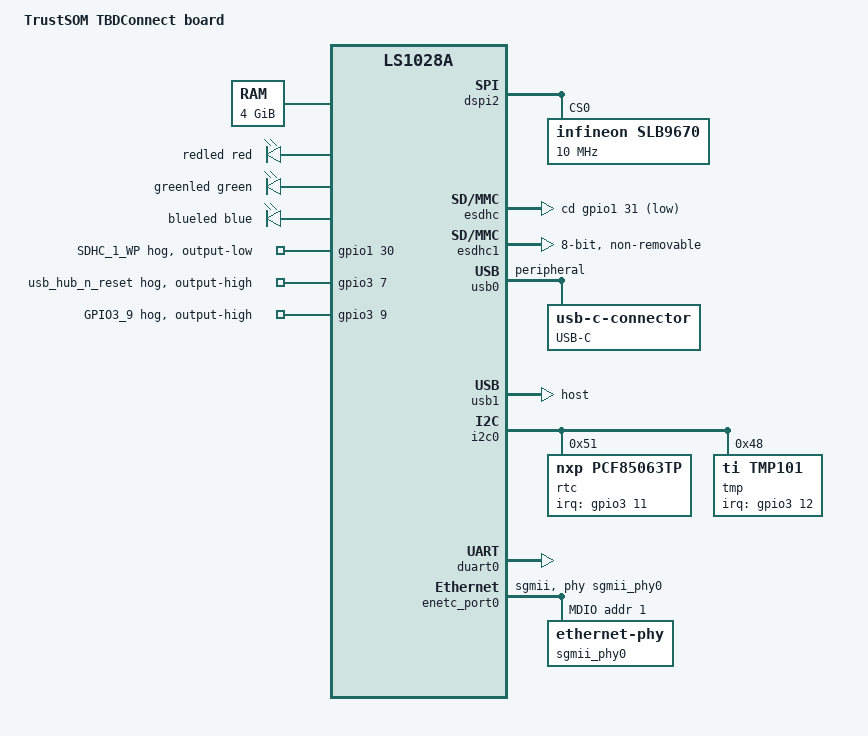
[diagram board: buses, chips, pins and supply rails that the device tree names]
// SPDX-License-Identifier: (GPL-2.0+ OR MIT)
/*
 * Device Tree file for Scalys TrustSOM TBDConnect Board.
 *
 * Copyright 2018-2019 NXP
 * Copyright 2021 Scalys
 *
 * opensource@scalys.com
 *
 */

/dts-v1/;
#include <dt-bindings/gpio/gpio.h>
#include <dt-bindings/leds/common.h>
#include "fsl-ls1028a.dtsi"

/ {
       model = "TrustSOM TBDConnect board";
       compatible = "fsl,ls1028a";

       aliases {
               crypto = &crypto;
               serial0 = &duart0;
               serial1 = &duart1;
       };

       chosen {
               stdout-path = "serial0:115200n8";
       };

       memory@80000000 {
               device_type = "memory";
               reg = <0x0 0x80000000 0x1 0x0000000>;
       };

       /* Fix incorrectly named node such that bootloader can find it */
       /delete-node/ clock-sysclk;
       sysclk: sysclk {
               compatible = "fixed-clock";
               #clock-cells = <0>;
               clock-frequency = <100000000>;
               clock-output-names = "sysclk";
       };

       leds {
               compatible = "gpio-leds";

               led0: redled  {
                       label = "redled";
                       color = <LED_COLOR_ID_RED>;
                       gpio = <&gpio3 5 GPIO_ACTIVE_HIGH>; /* GPIO3_5 */
                       default-state = "off";
               };

               led1: greenled  {
                       label = "greenled";
                       color = <LED_COLOR_ID_GREEN>;
                       gpio = <&gpio3 3 GPIO_ACTIVE_HIGH>; /* GPIO3_3 */
                       default-state = "on";
               };

               led2: blueled  {
                       label = "blueled";
                       color = <LED_COLOR_ID_BLUE>;
                       gpio = <&gpio3 2 GPIO_ACTIVE_HIGH>; /* GPIO3_2 */
                       default-state = "off";
               };
       };
};

&gpio1 {
       gpio-line-names = "", "", "", "", "", "", "UART_2_SIN", "UART_2_SOUT",
               "", "", "UART_1_SIN", "UART_1_SOUT", "", "", "", "", "", "", "", "",
               "", "", "USB_2_DRVVBUS", "USB_2_PWRFAULT", "", "", "", "", "", "",
               "SDHC_1_WP", "SDHC_1_CD";

       SDHC_1_WP {
               gpio-hog;
               gpios = <30 0>;
               output-low;
               line-name = "SDHC_1_WP";
       };
};

&gpio2 {
       gpio-line-names = "", "", "", "", "", "", "ASLEEP", "CLKOUT", "", "", "",
               "", "", "", "", "", "", "", "", "", "", "", "", "", "", "", "", "",
               "", "", "", "";
};

&gpio3 {
       gpio-line-names = "GPIO3_0", "GPIO3_1", "GPIO3_2", "GPIO3_3", "GPIO3_4",
               "GPIO3_5", "GPIO3_6", "GPIO3_7", "GPIO3_8", "GPIO3_9", "INT_TPM_N",
               "INT_RTC_N", "ALERT_TEMP", "", "", "", "", "USB_PWRFAULT",
               "USB_DRVVBUS", "", "", "", "", "", "", "", "", "", "", "", "", "";

       usb_hub_n_reset {
               gpio-hog;
               gpios = <7 0>;
               output-high;
               line-name = "usb_hub_n_reset";
       };

       w_disable {
               gpio-hog;
               gpios = <9 0>;
               output-high;
               line-name = "GPIO3_9";
       };
};

&dspi2 {
       spi-num-chipselects = <1>;
       bus-num = <2>;
       status = "okay";

       slb9670: slb9670@0 {
               compatible = "infineon,slb9670";
               reg = <0>; /* CE0 */
               #address-cells = <1>;
               #size-cells = <0>;
               spi-max-frequency = <10000000>;
               status = "okay";
               /* Interrupt disabled for now */
               /*interrupt-parent = <&gpio3>;
               interrupts = <10 IRQ_TYPE_EDGE_FALLING>;
               interrupt-names = "INT_TPM_N";*/
       };
};

&esdhc {
       sd-uhs-sdr104;
       sd-uhs-sdr50;
       sd-uhs-sdr25;
       sd-uhs-sdr12;
       status = "okay";
       cd-gpios = <&gpio1 31 GPIO_ACTIVE_LOW>;
       disable-wp;
};

&esdhc1 {
       voltage-ranges = <1800 1800>;
       mmc-hs200-1_8v;
       /*mmc-hs400-1_8v;
       max-frequency = <150000000>;*/
       bus-width = <8>;
       non-removable;
       status = "okay";
};

&usb0 {
       dr_mode = "peripheral";
       maximum-speed = "super-speed";
       usb-role-switch = "true";
       status = "okay";

       usb_con: connector {
               compatible = "usb-c-connector";
               label = "USB-C";
               power-role = "sink";
               data-role = "dual";
       };
};

&usb1 {
       dr_mode = "host";
       maximum-speed = "high-speed";
       status = "okay";
};

&i2c0 {
       status = "okay";

    rtc@51 {
        compatible = "nxp,pcf85063tp";
        reg = <0x51>;
        interrupt-parent = <&gpio3>;
        interrupts = <11 IRQ_TYPE_EDGE_FALLING>;
        interrupt-names = "INT_RTC_N";
    };

    tmp@48 {
        compatible = "ti,tmp101";
        reg = <0x48>;
        interrupt-parent = <&gpio3>;
        interrupts = <12 IRQ_TYPE_EDGE_FALLING>;
        interrupt-names = "ALERT_TEMP";
    };
};

&i2c3 {
       status = "disabled";
};

&i2c5 {
       status = "disabled";
};

&can1 {
       status = "disabled";
};

&fspi {
       status = "disabled";
};

&duart0 {
       status = "okay";
};

&duart1 {
       status = "disabled";
};

&enetc_port0 {
    status = "okay";
       phy-handle = <&sgmii_phy0>;
       phy-connection-type = "sgmii";

       mdio {
               #address-cells = <1>;
               #size-cells = <0>;
               sgmii_phy0: ethernet-phy@1 {
                       reg = <0x1>;
               };
       };
};

&enetc_port1 {
       status = "disabled";
};

&enetc_port2 {
       status = "disabled";
};

&enetc_port3 {
       status = "disabled";
};

&enetc_mdio_pf3 {
       status = "disabled";
};

&hdptx0 {
       status = "disabled";
};

